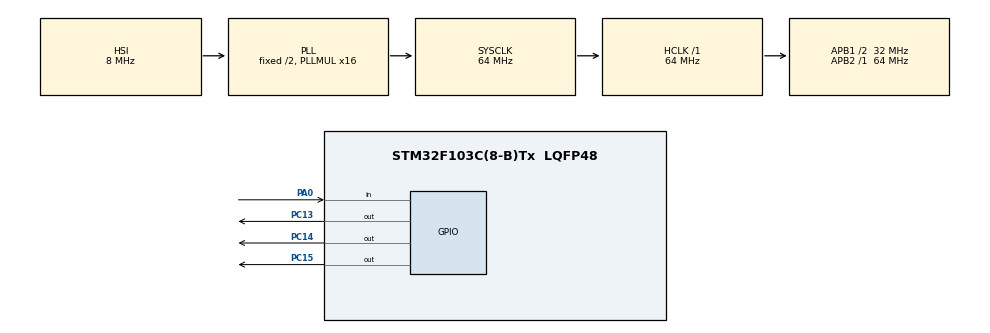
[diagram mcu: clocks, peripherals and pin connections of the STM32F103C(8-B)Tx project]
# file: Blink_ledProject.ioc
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Mcu.Family=STM32F1
Mcu.Name=STM32F103C(8-B)Tx
Mcu.Package=LQFP48
NVIC.PriorityGroup=NVIC_PRIORITYGROUP_4
PA0-WKUP.GPIO_PuPd=GPIO_PULLUP
PA0-WKUP.Signal=GPIO_Input
PA13.Mode=Serial_Wire
PA13.Signal=SYS_JTMS-SWDIO
PA14.Mode=Serial_Wire
PA14.Signal=SYS_JTCK-SWCLK
PC13-TAMPER-RTC.Signal=GPIO_Output
PC14-OSC32_IN.Signal=GPIO_Output
PC15-OSC32_OUT.Signal=GPIO_Output
ProjectManager.HeapSize=0x200
ProjectManager.StackSize=0x400
ProjectManager.TargetToolchain=STM32CubeIDE
RCC.AHBFreq_Value=64000000
RCC.APB1CLKDivider=RCC_HCLK_DIV2
RCC.APB1Freq_Value=32000000
RCC.APB1TimFreq_Value=64000000
RCC.APB2Freq_Value=64000000
RCC.APB2TimFreq_Value=64000000
RCC.HCLKFreq_Value=64000000
RCC.PLLMUL=RCC_PLL_MUL16
RCC.SYSCLKFreq_VALUE=64000000
RCC.SYSCLKSource=RCC_SYSCLKSOURCE_PLLCLK
RCC.USBFreq_Value=64000000
board=custom

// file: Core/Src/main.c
/* USER CODE BEGIN Header */
/**
  ******************************************************************************
  * @file           : main.c
  * @brief          : Main program body
  ******************************************************************************
  * @attention
  *
  * Copyright (c) 2025 STMicroelectronics.
  * All rights reserved.
  *
  * This software is licensed under terms that can be found in the LICENSE file
  * in the root directory of this software component.
  * If no LICENSE file comes with this software, it is provided AS-IS.
  *
  ******************************************************************************
  */
/* USER CODE END Header */
#include "main.h"

/* USER CODE BEGIN PV */
//--------------------var button---------------------//
uint8_t btn_current;
uint8_t btn_last = 0;
uint8_t btn_filter = 0;
uint8_t is_debouncing;
uint32_t time_debouncing;
uint8_t test;
uint32_t time_start_press;
uint8_t is_press_timeout;
//--------------------var button---------------------//

//--------------------var led------------------------//
typedef enum {
	LED_OFF, // cả hai led đều tắt
	LED1_BLINK_1HZ ,
	LED2_BLINK_5HZ ,
} LedStatus;
LedStatus led_status;
//--------------------var led------------------------//

void btn_pressing_callback() {
	switch(led_status) {
		case LED_OFF:
			led_status = LED1_BLINK_1HZ;
			break;
		case LED1_BLINK_1HZ:
			led_status = LED2_BLINK_5HZ;
			break;
		case LED2_BLINK_5HZ:
			led_status = LED_OFF;
			break;
	}
}
void btn_release_callback() {

}
void btn_press_short_callback() {

}
void btn_press_timeout_callback() {
	HAL_GPIO_WritePin(GPIOC, GPIO_PIN_15, 0);

}
void button_handle() {
	uint8_t sta = HAL_GPIO_ReadPin(GPIOA, GPIO_PIN_0);
	if(sta != btn_filter) {
		btn_filter = sta;
		is_debouncing = 1;
		time_debouncing = HAL_GetTick();
	}

	//---------------------Tín hiệu được xác lập-----------------------------//
	if(is_debouncing && (HAL_GetTick() - time_debouncing) >= 15) {
		btn_current = btn_filter;
		is_debouncing = 0;
	}
	//---------------------Xử lý nhấn nhả------------------------------------//
	if(btn_current != btn_last) {
		if(btn_current == 0) { // nhả ra
			if(HAL_GetTick() - time_start_press <= 1000) {
				btn_press_short_callback();
			}
			btn_release_callback();
			is_press_timeout = 0;
		}
		else { // nhấn xuống
			is_press_timeout = 1;
			btn_pressing_callback();
			time_start_press = HAL_GetTick();
		}
		btn_last = btn_current;
	}
	//------------------------------Xử lý nhấn giữ--------------------------//
	if(is_press_timeout && (HAL_GetTick() - time_start_press >= 3000)) {
		btn_press_timeout_callback();
		is_press_timeout = 0;
	}
	//------------------------------Xử lý nhấn giữ--------------------------//
}
void led1Blink1Hz() {
	static uint32_t tled1_blink;
	if(HAL_GetTick() - tled1_blink >= 500) {
		HAL_GPIO_TogglePin(GPIOC, GPIO_PIN_13);
		tled1_blink = HAL_GetTick();
	}
}
void led2Blink5Hz() {
	static uint32_t tled1_blink;
	if(HAL_GetTick() - tled1_blink >= 100) {
		HAL_GPIO_TogglePin(GPIOC, GPIO_PIN_14);
		tled1_blink = HAL_GetTick();
	}
}
void lefOff() {
	HAL_GPIO_WritePin(GPIOC, GPIO_PIN_13, 1);
	HAL_GPIO_WritePin(GPIOC, GPIO_PIN_14, 0);

}
void led_handle() {
	switch(led_status) {
		case LED_OFF:
			lefOff();
			break;
		case LED1_BLINK_1HZ:
			led1Blink1Hz();
			break;
		case LED2_BLINK_5HZ:
			led2Blink5Hz();
			break;
	}
}
/* USER CODE END PV */

void SystemClock_Config(void);
static void MX_GPIO_Init(void);

int main(void)
{

  /* MCU Configuration--------------------------------------------------------*/

  /* Reset of all peripherals, Initializes the Flash interface and the Systick. */
  HAL_Init();

  /* Configure the system clock */
  SystemClock_Config();

  /* Initialize all configured peripherals */
  MX_GPIO_Init();
  /* USER CODE BEGIN 2 */
  led_status = LED_OFF;
  /* USER CODE END 2 */

  /* Infinite loop */
  while (1)
  {

    /* USER CODE BEGIN 3 */
	  button_handle();
	  led_handle();
  }
  /* USER CODE END 3 */
}

void SystemClock_Config(void)
{
  RCC_OscInitTypeDef RCC_OscInitStruct = {0};
  RCC_ClkInitTypeDef RCC_ClkInitStruct = {0};

  /** Initializes the RCC Oscillators according to the specified parameters
  * in the RCC_OscInitTypeDef structure.
  */
  RCC_OscInitStruct.OscillatorType = RCC_OSCILLATORTYPE_HSI;
  RCC_OscInitStruct.HSIState = RCC_HSI_ON;
  RCC_OscInitStruct.HSICalibrationValue = RCC_HSICALIBRATION_DEFAULT;
  RCC_OscInitStruct.PLL.PLLState = RCC_PLL_ON;
  RCC_OscInitStruct.PLL.PLLSource = RCC_PLLSOURCE_HSI_DIV2;
  RCC_OscInitStruct.PLL.PLLMUL = RCC_PLL_MUL16;
  if (HAL_RCC_OscConfig(&RCC_OscInitStruct) != HAL_OK)
  {
    Error_Handler();
  }

  /** Initializes the CPU, AHB and APB buses clocks
  */
  RCC_ClkInitStruct.ClockType = RCC_CLOCKTYPE_HCLK|RCC_CLOCKTYPE_SYSCLK
                              |RCC_CLOCKTYPE_PCLK1|RCC_CLOCKTYPE_PCLK2;
  RCC_ClkInitStruct.SYSCLKSource = RCC_SYSCLKSOURCE_PLLCLK;
  RCC_ClkInitStruct.AHBCLKDivider = RCC_SYSCLK_DIV1;
  RCC_ClkInitStruct.APB1CLKDivider = RCC_HCLK_DIV2;
  RCC_ClkInitStruct.APB2CLKDivider = RCC_HCLK_DIV1;

  if (HAL_RCC_ClockConfig(&RCC_ClkInitStruct, FLASH_LATENCY_2) != HAL_OK)
  {
    Error_Handler();
  }
}

static void MX_GPIO_Init(void)
{
  GPIO_InitTypeDef GPIO_InitStruct = {0};

  /* GPIO Ports Clock Enable */
  __HAL_RCC_GPIOC_CLK_ENABLE();
  __HAL_RCC_GPIOA_CLK_ENABLE();

  /*Configure GPIO pin Output Level */
  HAL_GPIO_WritePin(GPIOC, GPIO_PIN_13|GPIO_PIN_14|GPIO_PIN_15, GPIO_PIN_RESET);

  /*Configure GPIO pins : PC13 PC14 PC15 */
  GPIO_InitStruct.Pin = GPIO_PIN_13|GPIO_PIN_14|GPIO_PIN_15;
  GPIO_InitStruct.Mode = GPIO_MODE_OUTPUT_PP;
  GPIO_InitStruct.Pull = GPIO_NOPULL;
  GPIO_InitStruct.Speed = GPIO_SPEED_FREQ_LOW;
  HAL_GPIO_Init(GPIOC, &GPIO_InitStruct);

  /*Configure GPIO pin : PA0 */
  GPIO_InitStruct.Pin = GPIO_PIN_0;
  GPIO_InitStruct.Mode = GPIO_MODE_INPUT;
  GPIO_InitStruct.Pull = GPIO_PULLUP;
  HAL_GPIO_Init(GPIOA, &GPIO_InitStruct);

}

void Error_Handler(void)
{
  __disable_irq();
  while (1)
  {
  }
}
